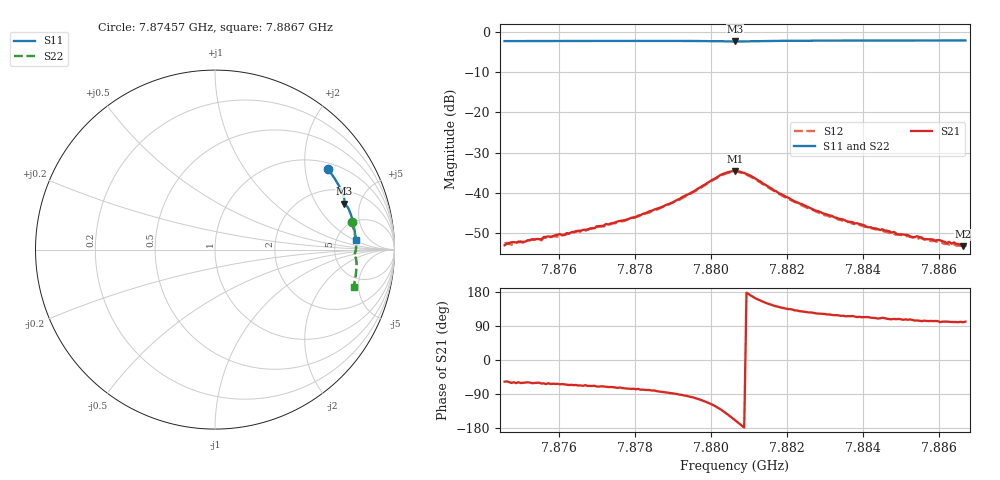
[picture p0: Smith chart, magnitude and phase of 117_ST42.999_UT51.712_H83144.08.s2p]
#  HZ  S  DB  R  50.00
! Rohde & Schwarz Vector Network Analyzer
! Rohde-Schwarz,ZNB20-2Port,1311601062101988,3.16
! Created: UTC 1/12/2023, 6:37:57 PM
! freq[Hz]  db:S11  ang:S11  db:S21  ang:S21  db:S12  ang:S12  db:S22  ang:S22
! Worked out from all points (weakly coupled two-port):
!   201 points, 7.87457 GHz to 7.8867 GHz, reference 50 ohm
!   highest |S21| = -34.56 dB at 7.88063 GHz (marker M1); lowest = -53.3 dB at 7.88664 GHz (marker M2)
!   lowest |S11| = -2.3 dB at 7.88063 GHz (marker M3), VSWR 7.47, Z = 144 + j178 ohm
!   |S11| at or under -10 dB: nowhere
!   |S22| runs from -2.2 to -1.9 dB; largest |S21 - S12| = 0.0013
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7.874569e9  -2.24 35.7  -53.03 -57.2  -52.61 -60.0  -2.19 11.6
7.874751e9  -2.24 35.1  -52.31 -60.4  -52.90 -61.8  -2.17 11.1
7.875054e9  -2.23 34.3  -52.23 -60.1  -52.38 -60.9  -2.16 10.4
7.875114e9  -2.23 34.2  -52.12 -59.6  -51.65 -63.3  -2.17 10.3
7.875539e9  -2.23 33.0  -51.55 -62.3  -51.83 -64.8  -2.16 9.3
7.8756e9  -2.23 32.8  -51.01 -61.6  -51.17 -64.1  -2.16 9.1
7.876085e9  -2.22 31.5  -50.60 -63.5  -50.36 -68.1  -2.14 8.0
7.876631e9  -2.21 30.0  -49.22 -68.0  -49.23 -70.8  -2.12 6.7
7.877723e9  -2.20 27.0  -46.84 -74.8  -46.97 -77.5  -2.10 4.1
7.878632e9  -2.20 24.5  -43.80 -83.1  -43.92 -86.8  -2.09 2.0
7.879178e9  -2.20 22.9  -41.48 -91.5  -41.71 -94.6  -2.09 0.7
7.88027e9  -2.30 20.0  -35.49 -131.2  -35.72 -134.9  -2.20 -1.9
7.880634e9  -2.34 19.6  -34.56 -158.7  -34.77 -162.3  -2.23 -2.1
7.881059e9  -2.28 19.1  -35.82 169.6  -36.07 166.5  -2.18 -2.4
7.881786e9  -2.19 17.2  -40.08 139.9  -40.24 136.9  -2.07 -3.9
7.882696e9  -2.14 14.6  -44.16 124.7  -44.32 121.1  -2.01 -6.1
7.883606e9  -2.12 12.2  -47.17 115.8  -47.24 112.9  -1.99 -8.2
7.884698e9  -2.11 9.3  -49.56 107.8  -50.01 104.7  -1.97 -10.6
7.885304e9  -2.10 7.7  -51.05 105.8  -51.04 103.2  -1.96 -12.0
7.886396e9  -2.09 4.9  -52.34 100.4  -52.76 97.6  -1.94 -14.3
7.886639e9  -2.08 4.2  -53.27 99.5  -53.11 96.8  -1.94 -14.9
7.886699e9  -2.09 4.1  -53.12 101.2  -53.28 97.4  -1.94 -15.0
